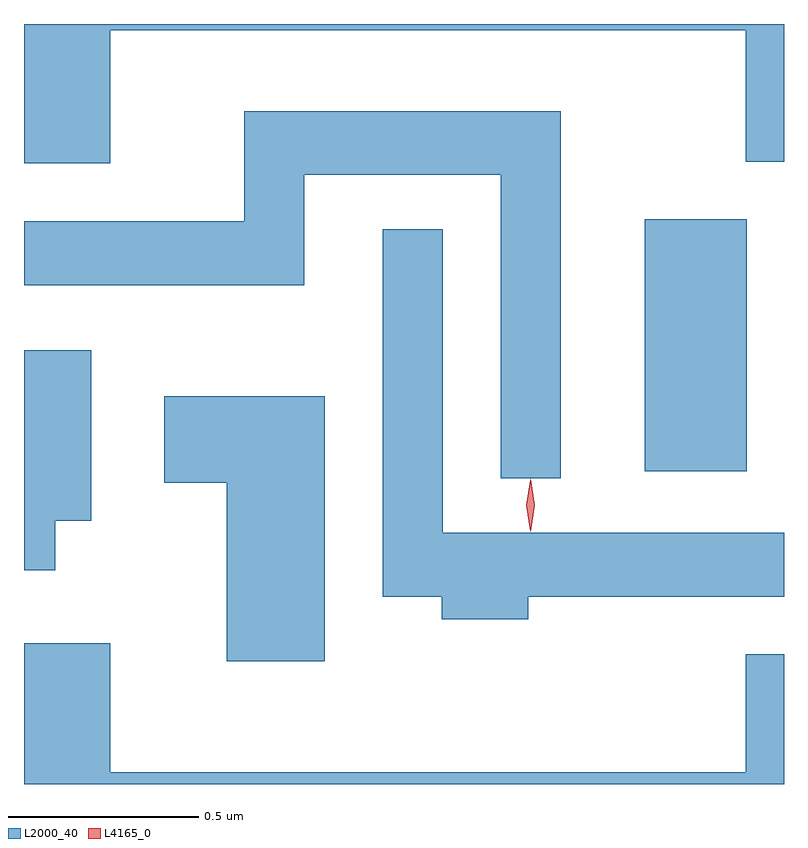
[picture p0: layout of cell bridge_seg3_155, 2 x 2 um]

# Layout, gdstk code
import gdstk
lib = gdstk.Library(unit=1e-6, precision=1e-09)
def R(c, l, rs):  # rectangles x0, y0, x1, y1
    for r in rs: c.add(gdstk.rectangle(r[:2], r[2:], *l))
def P(c, l, *ps):  # polygons
    for p in ps: c.add(gdstk.Polygon(p, *l))
L2000_40 = (2000, 40)
L4165_0 = (4165, 0)

bridge_seg3_155 = lib.new_cell('bridge_seg3_155')
R(bridge_seg3_155, L2000_40, [(904.936,1193.676,905.204,1194.339)])
P(bridge_seg3_155, L2000_40, [(903.529,1194.836),(905.201,1194.836),(905.201,1194.491),(905.302,1194.491),(905.302,1194.853),(903.302,1194.853),(903.302,1194.486),(903.529,1194.486)],
  [(904.714,1194.624),(903.881,1194.624),(903.881,1194.334),(903.302,1194.334),(903.302,1194.166),(904.039,1194.166),(904.039,1194.456),(904.556,1194.456),(904.556,1193.658),(904.714,1193.658)],
  [(904.629,1193.346),(905.302,1193.346),(905.302,1193.514),(904.404,1193.514),(904.404,1194.313),(904.246,1194.313),(904.246,1193.346),(904.401,1193.346),(904.401,1193.286),(904.629,1193.286)],
  [(903.384,1193.546),(903.479,1193.546),(903.479,1193.994),(903.302,1193.994),(903.302,1193.416),(903.384,1193.416)],
  [(904.094,1193.874),(903.671,1193.874),(903.671,1193.646),(903.836,1193.646),(903.836,1193.176),(904.094,1193.176)],
  [(905.302,1193.194),(905.201,1193.194),(905.201,1192.884),(903.529,1192.884),(903.529,1193.224),(903.302,1193.224),(903.302,1192.853),(905.302,1192.853)])
P(bridge_seg3_155, L4165_0, [(904.634,1193.52),(904.634,1193.52),(904.624,1193.586),(904.634,1193.652),(904.634,1193.653),(904.635,1193.652),(904.644,1193.586),(904.635,1193.52)],
  [(904.635,1193.517),(904.626,1193.587),(904.635,1193.656),(904.636,1193.656),(904.636,1193.656),(904.646,1193.587),(904.636,1193.517),(904.636,1193.517)])

lib.write_gds('bridge_seg3_155.gds')
